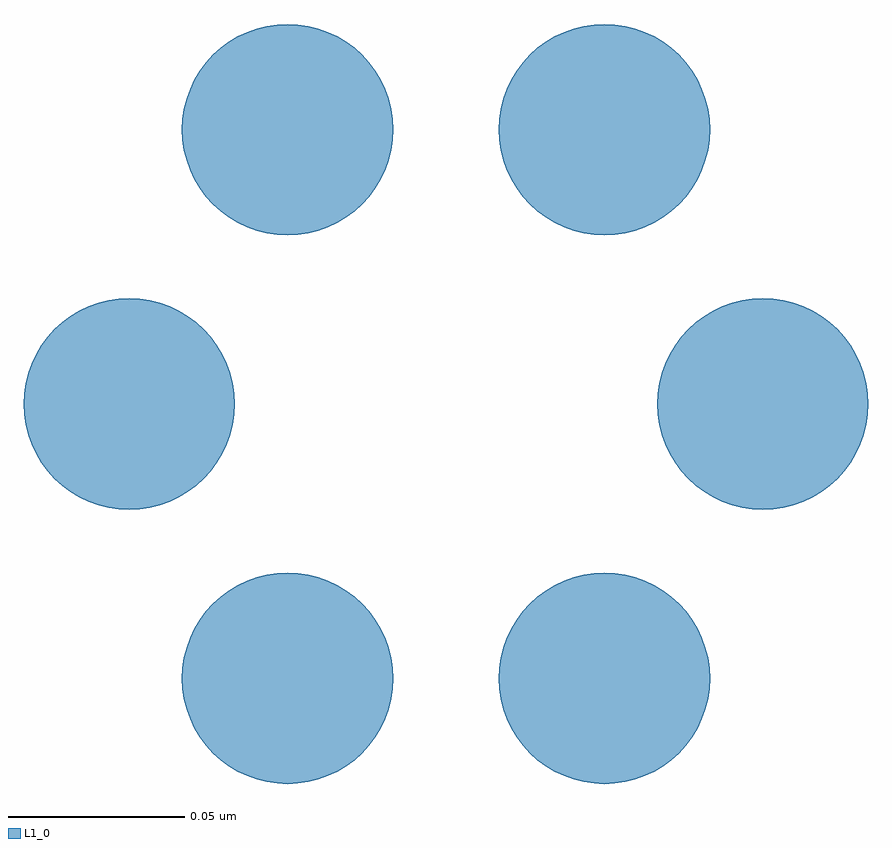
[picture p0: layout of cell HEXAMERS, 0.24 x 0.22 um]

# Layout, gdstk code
import gdstk
lib = gdstk.Library(unit=1e-6, precision=1e-12)
def P(c, l, *ps):  # polygons
    for p in ps: c.add(gdstk.Polygon(p, *l))
L1_0 = (1, 0)

hexamers = lib.new_cell('HEXAMERS')
P(hexamers, L1_0, [(0.12,0),(0.1199,-0.0029),(0.1194,-0.0059),(0.1187,-0.0087),(0.1177,-0.0115),(0.1165,-0.0141),(0.1149,-0.0167),(0.1132,-0.019),(0.1112,-0.0212),(0.109,-0.0232),(0.1067,-0.0249),(0.1041,-0.0265),(0.1015,-0.0277),(0.0987,-0.0287),(0.0959,-0.0294),(0.0929,-0.0299),(0.09,-0.03),(0.0871,-0.0299),(0.0841,-0.0294),(0.0813,-0.0287),(0.0785,-0.0277),(0.0759,-0.0265),(0.0733,-0.0249),(0.071,-0.0232),(0.0688,-0.0212),(0.0668,-0.019),(0.0651,-0.0167),(0.0635,-0.0141),(0.0623,-0.0115),(0.0613,-0.0087),(0.0606,-0.0059),(0.0601,-0.0029),(0.06,0),(0.0601,0.0029),(0.0606,0.0059),(0.0613,0.0087),(0.0623,0.0115),(0.0635,0.0141),(0.0651,0.0167),(0.0668,0.019),(0.0688,0.0212),(0.071,0.0232),(0.0733,0.0249),(0.0759,0.0265),(0.0785,0.0277),(0.0813,0.0287),(0.0841,0.0294),(0.0871,0.0299),(0.09,0.03),(0.0929,0.0299),(0.0959,0.0294),(0.0987,0.0287),(0.1015,0.0277),(0.1041,0.0265),(0.1067,0.0249),(0.109,0.0232),(0.1112,0.0212),(0.1132,0.019),(0.1149,0.0167),(0.1165,0.0141),(0.1177,0.0115),(0.1187,0.0087),(0.1194,0.0059),(0.1199,0.0029)],
  [(0.075,-0.0779),(0.0749,-0.0809),(0.0744,-0.0838),(0.0737,-0.0867),(0.0727,-0.0894),(0.0715,-0.0921),(0.0699,-0.0946),(0.0682,-0.097),(0.0662,-0.0992),(0.064,-0.1011),(0.0617,-0.1029),(0.0591,-0.1044),(0.0565,-0.1057),(0.0537,-0.1066),(0.0509,-0.1074),(0.0479,-0.1078),(0.045,-0.1079),(0.0421,-0.1078),(0.0391,-0.1074),(0.0363,-0.1066),(0.0335,-0.1057),(0.0309,-0.1044),(0.0283,-0.1029),(0.026,-0.1011),(0.0238,-0.0992),(0.0218,-0.097),(0.0201,-0.0946),(0.0185,-0.0921),(0.0173,-0.0894),(0.0163,-0.0867),(0.0156,-0.0838),(0.0151,-0.0809),(0.015,-0.0779),(0.0151,-0.075),(0.0156,-0.0721),(0.0163,-0.0692),(0.0173,-0.0665),(0.0185,-0.0638),(0.0201,-0.0613),(0.0218,-0.0589),(0.0238,-0.0567),(0.026,-0.0548),(0.0283,-0.053),(0.0309,-0.0515),(0.0335,-0.0502),(0.0363,-0.0492),(0.0391,-0.0485),(0.0421,-0.0481),(0.045,-0.0479),(0.0479,-0.0481),(0.0509,-0.0485),(0.0537,-0.0492),(0.0565,-0.0502),(0.0591,-0.0515),(0.0617,-0.053),(0.064,-0.0548),(0.0662,-0.0567),(0.0682,-0.0589),(0.0699,-0.0613),(0.0715,-0.0638),(0.0727,-0.0665),(0.0737,-0.0692),(0.0744,-0.0721),(0.0749,-0.075)],
  [(-0.015,-0.0779),(-0.0151,-0.0809),(-0.0156,-0.0838),(-0.0163,-0.0867),(-0.0173,-0.0894),(-0.0185,-0.0921),(-0.0201,-0.0946),(-0.0218,-0.097),(-0.0238,-0.0992),(-0.026,-0.1011),(-0.0283,-0.1029),(-0.0309,-0.1044),(-0.0335,-0.1057),(-0.0363,-0.1066),(-0.0391,-0.1074),(-0.0421,-0.1078),(-0.045,-0.1079),(-0.0479,-0.1078),(-0.0509,-0.1074),(-0.0537,-0.1066),(-0.0565,-0.1057),(-0.0591,-0.1044),(-0.0617,-0.1029),(-0.064,-0.1011),(-0.0662,-0.0992),(-0.0682,-0.097),(-0.0699,-0.0946),(-0.0715,-0.0921),(-0.0727,-0.0894),(-0.0737,-0.0867),(-0.0744,-0.0838),(-0.0749,-0.0809),(-0.075,-0.0779),(-0.0749,-0.075),(-0.0744,-0.0721),(-0.0737,-0.0692),(-0.0727,-0.0665),(-0.0715,-0.0638),(-0.0699,-0.0613),(-0.0682,-0.0589),(-0.0662,-0.0567),(-0.064,-0.0548),(-0.0617,-0.053),(-0.0591,-0.0515),(-0.0565,-0.0502),(-0.0537,-0.0492),(-0.0509,-0.0485),(-0.0479,-0.0481),(-0.045,-0.0479),(-0.0421,-0.0481),(-0.0391,-0.0485),(-0.0363,-0.0492),(-0.0335,-0.0502),(-0.0309,-0.0515),(-0.0283,-0.053),(-0.026,-0.0548),(-0.0238,-0.0567),(-0.0218,-0.0589),(-0.0201,-0.0613),(-0.0185,-0.0638),(-0.0173,-0.0665),(-0.0163,-0.0692),(-0.0156,-0.0721),(-0.0151,-0.075)],
  [(-0.06,0),(-0.0601,-0.0029),(-0.0606,-0.0059),(-0.0613,-0.0087),(-0.0623,-0.0115),(-0.0635,-0.0141),(-0.0651,-0.0167),(-0.0668,-0.019),(-0.0688,-0.0212),(-0.071,-0.0232),(-0.0733,-0.0249),(-0.0759,-0.0265),(-0.0785,-0.0277),(-0.0813,-0.0287),(-0.0841,-0.0294),(-0.0871,-0.0299),(-0.09,-0.03),(-0.0929,-0.0299),(-0.0959,-0.0294),(-0.0987,-0.0287),(-0.1015,-0.0277),(-0.1041,-0.0265),(-0.1067,-0.0249),(-0.109,-0.0232),(-0.1112,-0.0212),(-0.1132,-0.019),(-0.1149,-0.0167),(-0.1165,-0.0141),(-0.1177,-0.0115),(-0.1187,-0.0087),(-0.1194,-0.0059),(-0.1199,-0.0029),(-0.12,0),(-0.1199,0.0029),(-0.1194,0.0059),(-0.1187,0.0087),(-0.1177,0.0115),(-0.1165,0.0141),(-0.1149,0.0167),(-0.1132,0.019),(-0.1112,0.0212),(-0.109,0.0232),(-0.1067,0.0249),(-0.1041,0.0265),(-0.1015,0.0277),(-0.0987,0.0287),(-0.0959,0.0294),(-0.0929,0.0299),(-0.09,0.03),(-0.0871,0.0299),(-0.0841,0.0294),(-0.0813,0.0287),(-0.0785,0.0277),(-0.0759,0.0265),(-0.0733,0.0249),(-0.071,0.0232),(-0.0688,0.0212),(-0.0668,0.019),(-0.0651,0.0167),(-0.0635,0.0141),(-0.0623,0.0115),(-0.0613,0.0087),(-0.0606,0.0059),(-0.0601,0.0029)],
  [(-0.015,0.0779),(-0.0151,0.075),(-0.0156,0.0721),(-0.0163,0.0692),(-0.0173,0.0665),(-0.0185,0.0638),(-0.0201,0.0613),(-0.0218,0.0589),(-0.0238,0.0567),(-0.026,0.0548),(-0.0283,0.053),(-0.0309,0.0515),(-0.0335,0.0502),(-0.0363,0.0492),(-0.0391,0.0485),(-0.0421,0.0481),(-0.045,0.0479),(-0.0479,0.0481),(-0.0509,0.0485),(-0.0537,0.0492),(-0.0565,0.0502),(-0.0591,0.0515),(-0.0617,0.053),(-0.064,0.0548),(-0.0662,0.0567),(-0.0682,0.0589),(-0.0699,0.0613),(-0.0715,0.0638),(-0.0727,0.0665),(-0.0737,0.0692),(-0.0744,0.0721),(-0.0749,0.075),(-0.075,0.0779),(-0.0749,0.0809),(-0.0744,0.0838),(-0.0737,0.0867),(-0.0727,0.0894),(-0.0715,0.0921),(-0.0699,0.0946),(-0.0682,0.097),(-0.0662,0.0992),(-0.064,0.1011),(-0.0617,0.1029),(-0.0591,0.1044),(-0.0565,0.1057),(-0.0537,0.1066),(-0.0509,0.1074),(-0.0479,0.1078),(-0.045,0.1079),(-0.0421,0.1078),(-0.0391,0.1074),(-0.0363,0.1066),(-0.0335,0.1057),(-0.0309,0.1044),(-0.0283,0.1029),(-0.026,0.1011),(-0.0238,0.0992),(-0.0218,0.097),(-0.0201,0.0946),(-0.0185,0.0921),(-0.0173,0.0894),(-0.0163,0.0867),(-0.0156,0.0838),(-0.0151,0.0809)],
  [(0.075,0.0779),(0.0749,0.075),(0.0744,0.0721),(0.0737,0.0692),(0.0727,0.0665),(0.0715,0.0638),(0.0699,0.0613),(0.0682,0.0589),(0.0662,0.0567),(0.064,0.0548),(0.0617,0.053),(0.0591,0.0515),(0.0565,0.0502),(0.0537,0.0492),(0.0509,0.0485),(0.0479,0.0481),(0.045,0.0479),(0.0421,0.0481),(0.0391,0.0485),(0.0363,0.0492),(0.0335,0.0502),(0.0309,0.0515),(0.0283,0.053),(0.026,0.0548),(0.0238,0.0567),(0.0218,0.0589),(0.0201,0.0613),(0.0185,0.0638),(0.0173,0.0665),(0.0163,0.0692),(0.0156,0.0721),(0.0151,0.075),(0.015,0.0779),(0.0151,0.0809),(0.0156,0.0838),(0.0163,0.0867),(0.0173,0.0894),(0.0185,0.0921),(0.0201,0.0946),(0.0218,0.097),(0.0238,0.0992),(0.026,0.1011),(0.0283,0.1029),(0.0309,0.1044),(0.0335,0.1057),(0.0363,0.1066),(0.0391,0.1074),(0.0421,0.1078),(0.045,0.1079),(0.0479,0.1078),(0.0509,0.1074),(0.0537,0.1066),(0.0565,0.1057),(0.0591,0.1044),(0.0617,0.1029),(0.064,0.1011),(0.0662,0.0992),(0.0682,0.097),(0.0699,0.0946),(0.0715,0.0921),(0.0727,0.0894),(0.0737,0.0867),(0.0744,0.0838),(0.0749,0.0809)])

lib.write_gds('HEXAMERS.gds')
